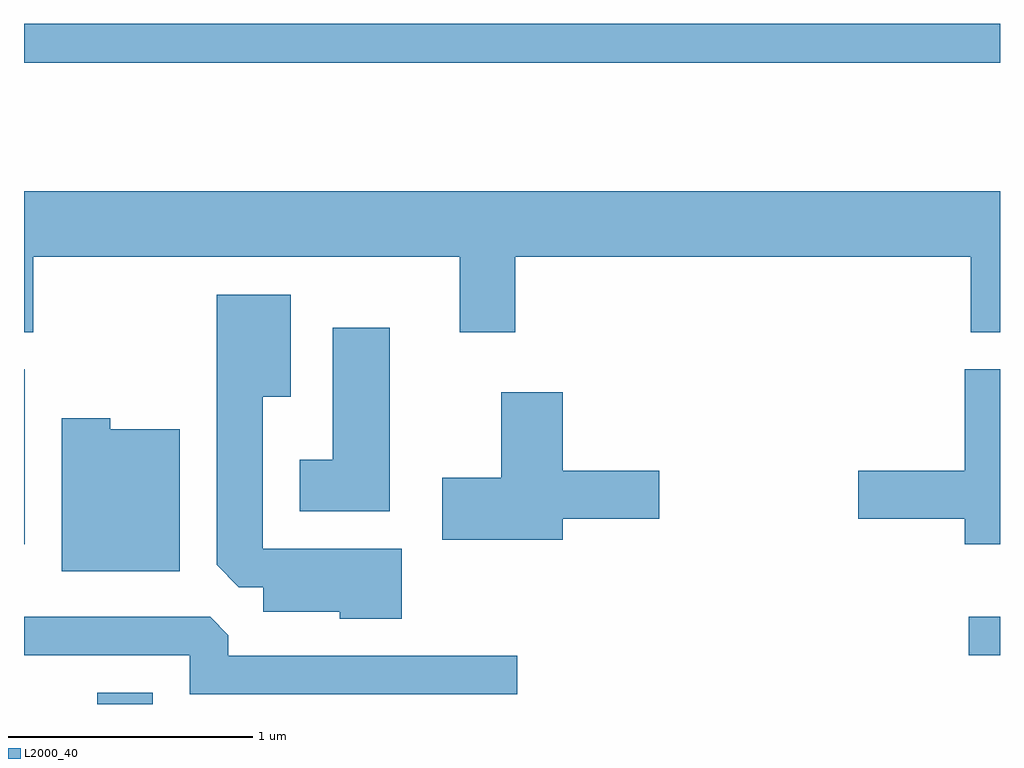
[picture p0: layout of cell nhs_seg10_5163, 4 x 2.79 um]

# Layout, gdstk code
import gdstk
lib = gdstk.Library(unit=1e-6, precision=1e-09)
def R(c, l, rs):  # rectangles x0, y0, x1, y1
    for r in rs: c.add(gdstk.rectangle(r[:2], r[2:], *l))
def P(c, l, *ps):  # polygons
    for p in ps: c.add(gdstk.Polygon(p, *l))
L2000_40 = (2000, 40)

nhs_seg10_5163 = lib.new_cell('nhs_seg10_5163')
R(nhs_seg10_5163, L2000_40, [(337.911,2116.522,338.139,2116.569), (341.483,2116.721,341.611,2116.879), (337.611,2117.176,337.614,2117.894), (337.611,2119.151,341.611,2119.309)])
P(nhs_seg10_5163, L2000_40, [(337.649,2118.356),(339.396,2118.356),(339.396,2118.046),(339.624,2118.046),(339.624,2118.356),(341.491,2118.356),(341.491,2118.046),(341.611,2118.046),(341.611,2118.624),(337.611,2118.624),(337.611,2118.046),(337.649,2118.046)],
  [(339.159,2117.159),(338.589,2117.159),(338.589,2117.781),(338.704,2117.781),(338.704,2118.199),(338.401,2118.199),(338.401,2117.092),(338.492,2117.001),(338.591,2117.001),(338.591,2116.901),(338.906,2116.901),(338.906,2116.871),(339.159,2116.871)],
  [(339.109,2118.064),(338.876,2118.064),(338.876,2117.524),(338.741,2117.524),(338.741,2117.311),(339.109,2117.311)],
  [(341.611,2117.894),(341.466,2117.894),(341.466,2117.479),(341.031,2117.479),(341.031,2117.281),(341.466,2117.281),(341.466,2117.176),(341.611,2117.176)],
  [(339.819,2117.281),(340.214,2117.281),(340.214,2117.479),(339.819,2117.479),(339.819,2117.799),(339.566,2117.799),(339.566,2117.449),(339.326,2117.449),(339.326,2117.196),(339.819,2117.196)],
  [(338.249,2117.649),(337.964,2117.649),(337.964,2117.694),(337.766,2117.694),(337.766,2117.066),(338.249,2117.066)],
  [(339.633,2116.719),(338.449,2116.719),(338.449,2116.804),(338.374,2116.879),(337.611,2116.879),(337.611,2116.721),(338.291,2116.721),(338.291,2116.561),(339.633,2116.561)])

lib.write_gds('nhs_seg10_5163.gds')
